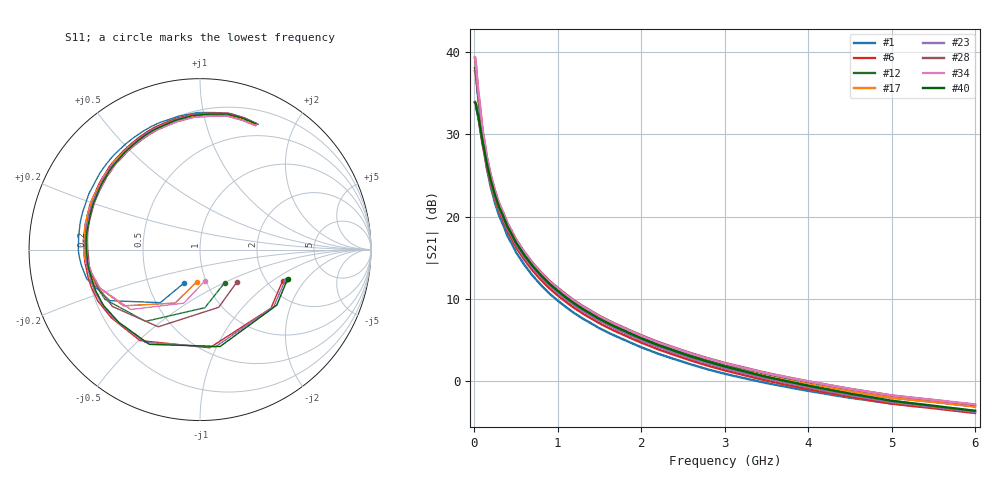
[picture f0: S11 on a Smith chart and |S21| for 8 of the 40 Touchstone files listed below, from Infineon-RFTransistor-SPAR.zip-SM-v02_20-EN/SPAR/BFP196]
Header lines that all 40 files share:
! Infineon Technologies  Discrete & RF Semiconductors
! BFP196
! Common Emitter S-Parameters:  Jan 2017
# GHz  S  MA  R  50
!  f  S11  S21  S12  S22
! GHz  MAG  ANG  MAG  ANG  MAG  ANG  MAG  ANG
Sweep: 10 MHz to 6 GHz
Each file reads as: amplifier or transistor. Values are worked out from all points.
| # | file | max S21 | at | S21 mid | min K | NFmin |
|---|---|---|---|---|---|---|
| 1 | BFP196_w_noise_VCE_2.0V_IC_85mA.s2p | 39.2 dB | 10 MHz | 3.3 dB at 2.2 GHz | 0.30 | 1.85 dB |
| 2 | BFP196_w_noise_VCE_2.0V_IC_90mA.s2p | 39.2 dB | 10 MHz | 3.2 dB at 2.2 GHz | 0.33 | 1.90 dB |
| 3 | BFP196_w_noise_VCE_3.0V_IC_0.10A.s2p | 39.6 dB | 10 MHz | 3.9 dB at 2.2 GHz | 0.32 | 2.04 dB |
| 4 | BFP196_w_noise_VCE_3.0V_IC_5.0mA.s2p | 24.4 dB | 20 MHz | 0.9 dB at 2.2 GHz | -0.01 | 1.01 dB |
| 5 | BFP196_w_noise_VCE_3.0V_IC_10mA.s2p | 29.6 dB | 10 MHz | 2.8 dB at 2.2 GHz | 0.00 | 0.99 dB |
| 6 | BFP196_w_noise_VCE_3.0V_IC_20mA.s2p | 33.9 dB | 10 MHz | 3.9 dB at 2.2 GHz | 0.05 | 1.10 dB |
| 7 | BFP196_w_noise_VCE_3.0V_IC_25mA.s2p | 35.1 dB | 10 MHz | 4.1 dB at 2.2 GHz | 0.05 | 1.15 dB |
| 8 | BFP196_w_noise_VCE_3.0V_IC_30mA.s2p | 36.0 dB | 10 MHz | 4.3 dB at 2.2 GHz | 0.09 | 1.22 dB |
| 9 | BFP196_w_noise_VCE_3.0V_IC_35mA.s2p | 36.7 dB | 10 MHz | 4.3 dB at 2.2 GHz | 0.10 | 1.28 dB |
| 10 | BFP196_w_noise_VCE_3.0V_IC_40mA.s2p | 37.3 dB | 10 MHz | 4.4 dB at 2.2 GHz | 0.13 | 1.34 dB |
| 11 | BFP196_w_noise_VCE_3.0V_IC_45mA.s2p | 37.7 dB | 10 MHz | 4.4 dB at 2.2 GHz | 0.15 | 1.39 dB |
| 12 | BFP196_w_noise_VCE_3.0V_IC_50mA.s2p | 38.1 dB | 10 MHz | 4.5 dB at 2.2 GHz | 0.17 | 1.45 dB |
| 13 | BFP196_w_noise_VCE_3.0V_IC_60mA.s2p | 38.6 dB | 10 MHz | 4.4 dB at 2.2 GHz | 0.19 | 1.56 dB |
| 14 | BFP196_w_noise_VCE_3.0V_IC_65mA.s2p | 38.9 dB | 10 MHz | 4.4 dB at 2.2 GHz | 0.21 | 1.62 dB |
| 15 | BFP196_w_noise_VCE_3.0V_IC_70mA.s2p | 39.0 dB | 10 MHz | 4.4 dB at 2.2 GHz | 0.23 | 1.68 dB |
| 16 | BFP196_w_noise_VCE_3.0V_IC_75mA.s2p | 39.2 dB | 10 MHz | 4.4 dB at 2.2 GHz | 0.25 | 1.73 dB |
| 17 | BFP196_w_noise_VCE_3.0V_IC_80mA.s2p | 39.3 dB | 10 MHz | 4.3 dB at 2.2 GHz | 0.26 | 1.78 dB |
| 18 | BFP196_w_noise_VCE_3.0V_IC_85mA.s2p | 39.4 dB | 10 MHz | 4.2 dB at 2.2 GHz | 0.28 | 1.85 dB |
| 19 | BFP196_w_noise_VCE_3.0V_IC_90mA.s2p | 39.5 dB | 10 MHz | 4.1 dB at 2.2 GHz | 0.30 | 1.90 dB |
| 20 | BFP196_w_noise_VCE_4.0V_IC_0.10A.s2p | 39.7 dB | 10 MHz | 4.4 dB at 2.2 GHz | 0.29 | 2.04 dB |
| 21 | BFP196_w_noise_VCE_4.0V_IC_5.0mA.s2p | 24.3 dB | 20 MHz | 1.1 dB at 2.2 GHz | -0.03 | 1.01 dB |
| 22 | BFP196_w_noise_VCE_4.0V_IC_10mA.s2p | 29.5 dB | 10 MHz | 3.1 dB at 2.2 GHz | -0.03 | 0.99 dB |
| 23 | BFP196_w_noise_VCE_4.0V_IC_20mA.s2p | 33.9 dB | 10 MHz | 4.2 dB at 2.2 GHz | 0.02 | 1.10 dB |
| 24 | BFP196_w_noise_VCE_4.0V_IC_25mA.s2p | 35.1 dB | 10 MHz | 4.4 dB at 2.2 GHz | 0.06 | 1.15 dB |
| 25 | BFP196_w_noise_VCE_4.0V_IC_30mA.s2p | 36.0 dB | 10 MHz | 4.6 dB at 2.2 GHz | 0.09 | 1.22 dB |
| 26 | BFP196_w_noise_VCE_4.0V_IC_35mA.s2p | 36.7 dB | 10 MHz | 4.7 dB at 2.2 GHz | 0.09 | 1.28 dB |
| 27 | BFP196_w_noise_VCE_4.0V_IC_40mA.s2p | 37.2 dB | 10 MHz | 4.7 dB at 2.2 GHz | 0.13 | 1.34 dB |
| 28 | BFP196_w_noise_VCE_4.0V_IC_45mA.s2p | 37.7 dB | 10 MHz | 4.8 dB at 2.2 GHz | 0.14 | 1.39 dB |
| 29 | BFP196_w_noise_VCE_4.0V_IC_50mA.s2p | 38.1 dB | 10 MHz | 4.8 dB at 2.2 GHz | 0.16 | 1.45 dB |
| 30 | BFP196_w_noise_VCE_4.0V_IC_60mA.s2p | 38.7 dB | 10 MHz | 4.8 dB at 2.2 GHz | 0.19 | 1.56 dB |
| 31 | BFP196_w_noise_VCE_4.0V_IC_65mA.s2p | 38.9 dB | 10 MHz | 4.8 dB at 2.2 GHz | 0.20 | 1.62 dB |
| 32 | BFP196_w_noise_VCE_4.0V_IC_70mA.s2p | 39.1 dB | 10 MHz | 4.8 dB at 2.2 GHz | 0.23 | 1.68 dB |
| 33 | BFP196_w_noise_VCE_4.0V_IC_75mA.s2p | 39.2 dB | 10 MHz | 4.8 dB at 2.2 GHz | 0.23 | 1.73 dB |
| 34 | BFP196_w_noise_VCE_4.0V_IC_80mA.s2p | 39.4 dB | 10 MHz | 4.7 dB at 2.2 GHz | 0.24 | 1.78 dB |
| 35 | BFP196_w_noise_VCE_4.0V_IC_85mA.s2p | 39.5 dB | 10 MHz | 4.7 dB at 2.2 GHz | 0.26 | 1.85 dB |
| 36 | BFP196_w_noise_VCE_4.0V_IC_90mA.s2p | 39.6 dB | 10 MHz | 4.6 dB at 2.2 GHz | 0.27 | 1.90 dB |
| 37 | BFP196_w_noise_VCE_5.0V_IC_0.10A.s2p | 39.7 dB | 10 MHz | 4.7 dB at 2.2 GHz | 0.28 | 2.04 dB |
| 38 | BFP196_w_noise_VCE_5.0V_IC_5.0mA.s2p | 24.3 dB | 20 MHz | 1.3 dB at 2.2 GHz | -0.06 | 1.01 dB |
| 39 | BFP196_w_noise_VCE_5.0V_IC_10mA.s2p | 29.5 dB | 10 MHz | 3.3 dB at 2.2 GHz | -0.02 | 0.99 dB |
| 40 | BFP196_w_noise_VCE_5.0V_IC_20mA.s2p | 33.9 dB | 10 MHz | 4.4 dB at 2.2 GHz | 0.05 | 1.10 dB |

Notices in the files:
Hoja de datos/BFP 450/Infineon-RFTransistor-SPAR.zip-SM-v02_20-EN/SPAR/BFP196/BFP196_w_noise_VCE_2.0V_IC_85mA.s2p:
(c) 2017  Infineon Technologies AG, Munich
